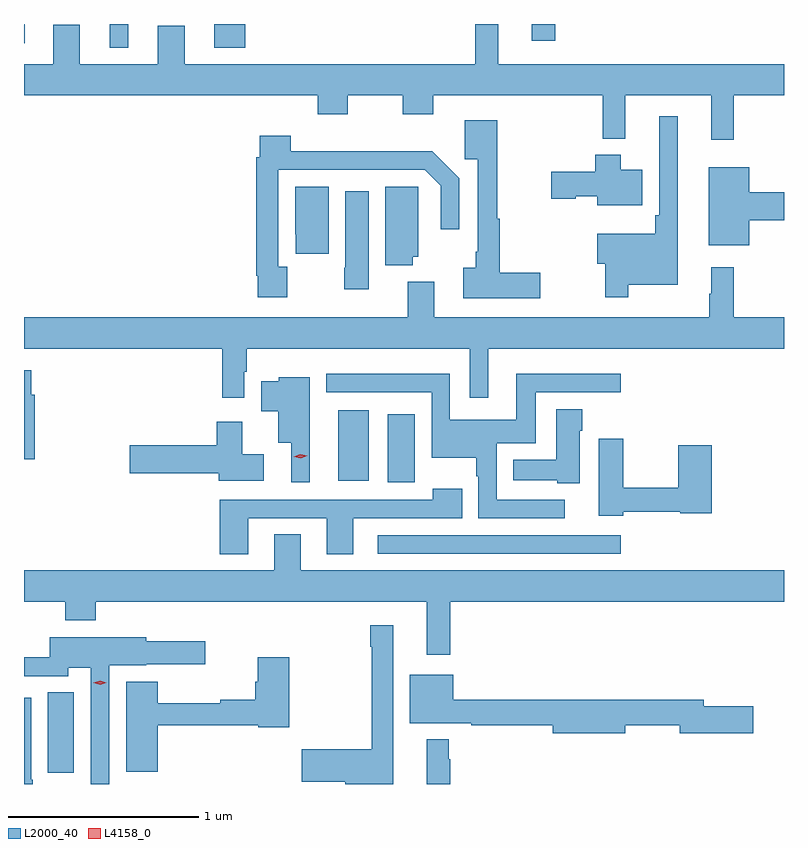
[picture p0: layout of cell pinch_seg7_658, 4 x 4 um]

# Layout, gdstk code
import gdstk
lib = gdstk.Library(unit=1e-6, precision=1e-09)
def R(c, l, rs):  # rectangles x0, y0, x1, y1
    for r in rs: c.add(gdstk.rectangle(r[:2], r[2:], *l))
def P(c, l, *ps):  # polygons
    for p in ps: c.add(gdstk.Polygon(p, *l))
L2000_40 = (2000, 40)
L4158_0 = (4158, 0)

pinch_seg7_658 = lib.new_cell('pinch_seg7_658')
R(pinch_seg7_658, L2000_40, [(337.622,1034.346,337.759,1034.771), (339.357,1035.501,340.636,1035.597), (339.41,1035.876,339.553,1036.234), (339.149,1035.884,339.31,1036.255), (337.946,1038.162,338.044,1038.288), (338.498,1038.162,338.66,1038.288), (337.496,1038.186,337.5,1038.288), (340.169,1038.201,340.291,1038.288)])
P(pinch_seg7_658, L2000_40, [(341.231,1037.912),(341.496,1037.912),(341.496,1038.076),(339.991,1038.076),(339.991,1038.288),(339.87,1038.288),(339.87,1038.076),(338.341,1038.076),(338.341,1038.278),(338.201,1038.278),(338.201,1038.076),(337.789,1038.076),(337.789,1038.283),(337.649,1038.283),(337.649,1038.076),(337.496,1038.076),(337.496,1037.912),(339.041,1037.912),(339.041,1037.813),(339.201,1037.813),(339.201,1037.912),(339.49,1037.912),(339.49,1037.813),(339.65,1037.813),(339.65,1037.912),(340.543,1037.912),(340.543,1037.684),(340.661,1037.684),(340.661,1037.912),(341.114,1037.912),(341.114,1037.679),(341.231,1037.679)],
  [(340.675,1036.916),(340.936,1036.916),(340.936,1037.803),(340.839,1037.803),(340.839,1037.281),(340.819,1037.281),(340.819,1037.185),(340.512,1037.185),(340.512,1037.027),(340.554,1037.027),(340.554,1036.851),(340.675,1036.851)],
  [(340.213,1036.978),(340.001,1036.978),(340.001,1037.262),(339.986,1037.262),(339.986,1037.782),(339.816,1037.782),(339.816,1037.577),(339.885,1037.577),(339.885,1037.089),(339.873,1037.089),(339.873,1037.006),(339.807,1037.006),(339.807,1036.844),(340.213,1036.844)],
  [(338.881,1037.011),(338.835,1037.011),(338.835,1037.52),(339.606,1037.52),(339.69,1037.436),(339.69,1037.208),(339.786,1037.208),(339.786,1037.476),(339.645,1037.618),(338.899,1037.618),(338.899,1037.701),(338.738,1037.701),(338.738,1037.588),(338.719,1037.588),(338.719,1036.963),(338.727,1036.963),(338.727,1036.851),(338.881,1036.851)],
  [(340.75,1037.521),(340.636,1037.521),(340.636,1037.599),(340.502,1037.599),(340.502,1037.511),(340.272,1037.511),(340.272,1037.369),(340.401,1037.369),(340.401,1037.381),(340.514,1037.381),(340.514,1037.333),(340.75,1037.333)],
  [(341.314,1037.255),(341.496,1037.255),(341.496,1037.402),(341.314,1037.402),(341.314,1037.533),(341.099,1037.533),(341.099,1037.123),(341.314,1037.123)],
  [(339.543,1037.063),(339.571,1037.063),(339.571,1037.431),(339.398,1037.431),(339.398,1037.017),(339.543,1037.017)],
  [(339.1,1037.431),(338.924,1037.431),(338.924,1037.182),(338.925,1037.182),(338.925,1037.079),(339.1,1037.079)],
  [(339.31,1037.407),(339.188,1037.407),(339.188,1037.005),(339.181,1037.005),(339.181,1036.893),(339.31,1036.893)],
  [(338.655,1036.458),(338.668,1036.458),(338.668,1036.58),(339.843,1036.58),(339.843,1036.32),(339.94,1036.32),(339.94,1036.58),(341.496,1036.58),(341.496,1036.744),(341.231,1036.744),(341.231,1037.007),(341.114,1037.007),(341.114,1036.868),(341.103,1036.868),(341.103,1036.744),(339.655,1036.744),(339.655,1036.932),(339.515,1036.932),(339.515,1036.744),(337.496,1036.744),(337.496,1036.58),(338.539,1036.58),(338.539,1036.32),(338.655,1036.32)],
  [(337.552,1036.338),(337.534,1036.338),(337.534,1036.465),(337.496,1036.465),(337.496,1035.998),(337.552,1035.998)],
  [(340.342,1035.783),(339.984,1035.783),(339.984,1036.082),(340.189,1036.082),(340.189,1036.35),(340.636,1036.35),(340.636,1036.447),(340.088,1036.447),(340.088,1036.204),(339.738,1036.204),(339.738,1036.447),(339.086,1036.447),(339.086,1036.35),(339.642,1036.35),(339.642,1036.004),(339.876,1036.004),(339.876,1035.908),(339.888,1035.908),(339.888,1035.687),(340.342,1035.687)],
  [(339.001,1036.429),(338.838,1036.429),(338.838,1036.408),(338.744,1036.408),(338.744,1036.25),(338.834,1036.25),(338.834,1036.085),(338.903,1036.085),(338.903,1035.876),(339.001,1035.876)],
  [(340.42,1036.148),(340.433,1036.148),(340.433,1036.261),(340.298,1036.261),(340.298,1035.994),(340.071,1035.994),(340.071,1035.887),(340.302,1035.887),(340.302,1035.872),(340.42,1035.872)],
  [(338.758,1036.024),(338.644,1036.024),(338.644,1036.195),(338.51,1036.195),(338.51,1036.07),(338.052,1036.07),(338.052,1035.923),(338.522,1035.923),(338.522,1035.884),(338.758,1035.884)],
  [(340.65,1035.72),(340.95,1035.72),(340.95,1035.712),(341.117,1035.712),(341.117,1036.072),(340.939,1036.072),(340.939,1035.848),(340.65,1035.848),(340.65,1036.105),(340.52,1036.105),(340.52,1035.701),(340.65,1035.701)],
  [(338.677,1035.687),(339.089,1035.687),(339.089,1035.498),(339.229,1035.498),(339.229,1035.687),(339.803,1035.687),(339.803,1035.841),(339.647,1035.841),(339.647,1035.783),(338.525,1035.783),(338.525,1035.498),(338.677,1035.498)],
  [(339.739,1035.248),(341.496,1035.248),(341.496,1035.412),(338.953,1035.412),(338.953,1035.602),(338.813,1035.602),(338.813,1035.412),(337.496,1035.412),(337.496,1035.248),(337.714,1035.248),(337.714,1035.149),(337.874,1035.149),(337.874,1035.248),(339.617,1035.248),(339.617,1034.967),(339.739,1034.967)],
  [(339.439,1035.124),(339.318,1035.124),(339.318,1035.011),(339.325,1035.011),(339.325,1034.471),(338.958,1034.471),(338.958,1034.3),(339.188,1034.3),(339.188,1034.288),(339.439,1034.288)],
  [(337.944,1034.912),(338.139,1034.912),(338.139,1034.918),(338.449,1034.918),(338.449,1035.04),(338.139,1035.04),(338.139,1035.061),(337.632,1035.061),(337.632,1034.954),(337.496,1034.954),(337.496,1034.856),(337.728,1034.856),(337.728,1034.9),(337.848,1034.9),(337.848,1034.288),(337.944,1034.288)],
  [(338.2,1034.596),(338.73,1034.596),(338.73,1034.588),(338.892,1034.588),(338.892,1034.956),(338.726,1034.956),(338.726,1034.826),(338.714,1034.826),(338.714,1034.732),(338.53,1034.732),(338.53,1034.714),(338.2,1034.714),(338.2,1034.827),(338.033,1034.827),(338.033,1034.353),(338.2,1034.353)],
  [(340.66,1034.596),(340.946,1034.596),(340.946,1034.554),(341.335,1034.554),(341.335,1034.696),(341.074,1034.696),(341.074,1034.732),(339.754,1034.732),(339.754,1034.863),(339.527,1034.863),(339.527,1034.609),(339.85,1034.609),(339.85,1034.596),(340.28,1034.596),(340.28,1034.554),(340.66,1034.554)],
  [(337.542,1034.311),(337.534,1034.311),(337.534,1034.743),(337.496,1034.743),(337.496,1034.288),(337.542,1034.288)],
  [(339.739,1034.417),(339.732,1034.417),(339.732,1034.524),(339.617,1034.524),(339.617,1034.288),(339.739,1034.288)])
P(pinch_seg7_658, L4158_0, [(338.952,1036.003),(338.916,1036.01),(338.916,1036.011),(338.916,1036.011),(338.95,1036.023),(338.986,1036.015),(338.986,1036.015),(338.986,1036.015)],
  [(337.896,1034.811),(337.861,1034.82),(337.861,1034.82),(337.861,1034.82),(337.896,1034.831),(337.93,1034.822),(337.93,1034.821),(337.93,1034.821)])

lib.write_gds('pinch_seg7_658.gds')
